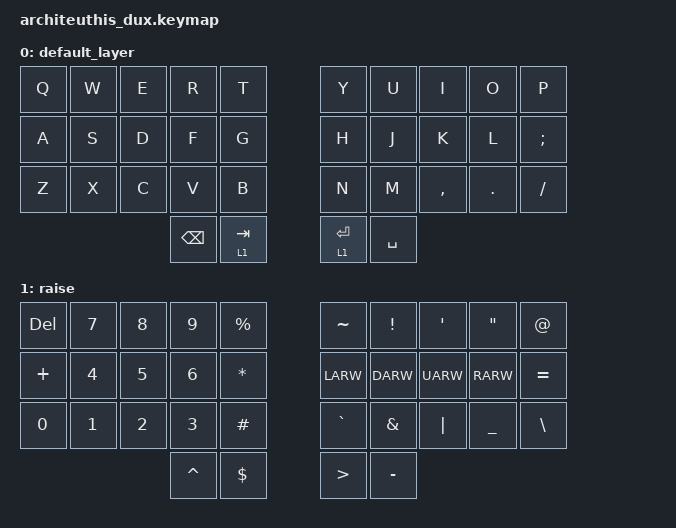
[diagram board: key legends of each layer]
/*
 * Copyright (c) 2021 The ZMK Contributors
 *
 * SPDX-License-Identifier: MIT
 */

#include <behaviors.dtsi>
#include <dt-bindings/zmk/keys.h>
#include <dt-bindings/zmk/bt.h>
#include <dt-bindings/zmk/outputs.h>

&lt { quick_tap_ms = <100>; };

/ {
        behaviors {
                combos {
                        compatible = "zmk,combos";
                        // modifiers
                        c_lctrl {
                                timeout-ms = <50>;
                                key-positions = <12 13>;
                                bindings = <&kp LCTRL>;
                        };
                        c_rctrl {
                                timeout-ms = <50>;
                                key-positions = <16 17>;
                                bindings = <&kp LCTRL>;
                        };
                        c_lmgui {
                                timeout-ms = <50>;
                                key-positions = <11 12>;
                                bindings = <&kp LGUI>;
                        };
                        c_lmsft {
                                timeout-ms = <50>;
                                key-positions = <11 13>;
                                bindings = <&kp LSFT>;
                        };
                        c_lmalt {
                                timeout-ms = <50>;
                                key-positions = <10 11>;
                                bindings = <&kp LALT>;
                        };
                        c_lmaltsft {
                                timeout-ms = <50>;
                                key-positions = <10 11 13>;
                                bindings = <&kp LA(LSHFT)>;
                        };
                        c_lmguisft {
                                timeout-ms = <50>;
                                key-positions = <11 12 13>;
                                bindings = <&kp LS(LGUI)>;
                        };
                        c_rmgui {
                                timeout-ms = <50>;
                                key-positions = <17 18>;
                                bindings = <&kp LGUI>;
                        };
                        c_rmalt {
                                timeout-ms = <50>;
                                key-positions = <18 19>;
                                bindings = <&kp LALT>;
                        };
                        c_rmaltsft {
                                timeout-ms = <50>;
                                key-positions = <16 18 19>;
                                bindings = <&kp LA(LSHFT)>;
                        };
                        c_rmsft {
                                timeout-ms = <50>;
                                key-positions = <16 18>;
                                bindings = <&kp LSFT>;
                        };
                        c_rmguisft {
                                timeout-ms = <50>;
                                key-positions = <16 17 18>;
                                bindings = <&kp LS(LGUI)>;
                        };
                        // symbols
                        c_LBRC {
                                timeout-ms = <50>;
                                key-positions = <17 27>;
                                bindings = <&kp LBRC>;
                        };
                        c_RBRC {
                                timeout-ms = <50>;
                                key-positions = <7 17>;
                                bindings = <&kp RBRC>;
                        };
                        c_LPAR {
                                timeout-ms = <50>;
                                key-positions = <18 28>;
                                bindings = <&kp LPAR>;
                        };
                        c_RPAR {
                                timeout-ms = <50>;
                                key-positions = <8 18>;
                                bindings = <&kp RPAR>;
                        };
                        c_LBKT {
                                timeout-ms = <50>;
                                key-positions = <16 26>;
                                bindings = <&kp LBKT>;
                        };
                        c_RBKT {
                                timeout-ms = <50>;
                                key-positions = <6 16>;
                                bindings = <&kp RBKT>;
                        };
                        // common shortcuts
                        c_AGL {
                                timeout-ms = <50>;
                                key-positions = <1 11>;
                                bindings = <&kp LA(LG(LARW))>;
                        };
                        c_AGR {
                                timeout-ms = <50>;
                                key-positions = <2 12>;
                                bindings = <&kp LA(LG(RARW))>;
                        };
                        c_GBL {
                                timeout-ms = <50>;
                                key-positions = <11 21>;
                                bindings = <&kp LG(LBKT)>;
                        };
                        c_GBR {
                                timeout-ms = <50>;
                                key-positions = <12 22>;
                                bindings = <&kp LG(RBKT)>;
                        };
                        c_ASU {
                                timeout-ms = <50>;
                                key-positions = <3 13>;
                                bindings = <&kp LA(LS(DARW))>;
                        };
                        c_ASD {
                                timeout-ms = <50>;
                                key-positions = <13 23>;
                                bindings = <&kp LA(LS(UARW))>;
                        };
                        // misc
                        c_esc {
                                timeout-ms = <50>;
                                key-positions = <27 28>;
                                bindings = <&kp ESCAPE>;
                        };
                        c_CLR {
                                timeout-ms = <50>;
                                key-positions = <1 2 4>;
                                bindings = <&bt BT_CLR>;
                        };
                        c_OUT {
                                timeout-ms = <50>;
                                key-positions = <5 6 8>;
                                bindings = <&out OUT_TOG>;
                        };
                        c_RST {
                                timeout-ms = <50>;
                                key-positions = <1 2 3>;
                                bindings = <&reset>;
                        };
                        c_CAPSLOCK {
                                timeout-ms = <50>;
                                key-positions = <12 17>;
                                bindings = <&kp CAPSLOCK>;
                        };
                        c_T {
                                timeout-ms = <50>;
                                key-positions = <2 3>;
                                bindings = <&kp T>;
                        };
                        c_Y {
                                timeout-ms = <50>;
                                key-positions = <6 7>;
                                bindings = <&kp Y>;
                        };
                        c_Q {
                                timeout-ms = <50>;
                                key-positions = <1 2>;
                                bindings = <&kp Q>;
                        };
                        c_P {
                                timeout-ms = <50>;
                                key-positions = <7 8>;
                                bindings = <&kp P>;
                        };
                        c_B {
                                timeout-ms = <50>;
                                key-positions = <22 23>;
                                bindings = <&kp B>;
                        };
                        c_N {
                                timeout-ms = <50>;
                                key-positions = <26 27>;
                                bindings = <&kp N>;
                        };
                };
        };

        keymap {
                compatible = "zmk,keymap";
                default_layer {
                        bindings = <
    &kp Q       &kp W        &kp E          &kp R        &kp T          &kp Y      &kp U         &kp I           &kp O       &kp P
    &kp A       &kp S        &kp D          &kp F        &kp G          &kp H      &kp J         &kp K           &kp L       &kp SEMI
    &kp Z       &kp X        &kp C          &kp V        &kp B          &kp N      &kp M         &kp COMMA       &kp DOT     &kp FSLH
                                            &kp BKSP     &lt 1 TAB      &lt 1 RET  &kp SPACE
                        >;
                };

                raise {
                        bindings = <
    &kp DEL     &kp N7      &kp N8       &kp N9      &kp PRCNT          &kp TILDE  &kp EXCL    &kp SQT   &kp DQT     &kp AT
    &kp PLUS    &kp N4      &kp N5       &kp N6      &kp STAR           &kp LARW   &kp DARW    &kp UARW  &kp RARW    &kp EQUAL
    &kp N0      &kp N1      &kp N2       &kp N3      &kp HASH           &kp GRAVE  &kp AMPS    &kp PIPE  &kp UNDER   &kp BSLH
                                         &kp CARET   &kp DLLR           &kp GT     &kp MINUS
                        >;
                };
        };
};

/**
Base Layer
 Q | W | E | R | T      Y | U | I     | O   | P
 A | S | D | F | G      H | J | K     | L   | SEMI
 Z | X | C | V | B      N | M | COMMA | DOT | FSLH
    &lt 1 BKSP | TAB  RET | &lt 1 SPACE

Layer 1
 DEL | 7   | 8   | 9 | %     ~ | ! | ' | " | @
   + | 4   | 5   | 6 | *     l | d | u | r | =
   0 | 1   | 2   | 3 | #     ` | & | | | _ | \
                   ^ | $     > | -

Vertical Combos
   x | AG< | AG> | ASU | x     x | ] | } | ) | x
   x | G[  | G]  | ASD | x     x | [ | { | ( | x

Horizontal Combos
   x   | Q   | T   | x        x | Y   | P   | x
   ALT | GUI | CTL | x        x | CTL | GUI | ALT
   x   | x   | B   | x        x | N   | ESC | x

Shift
 Home row ring and index finger
*/
